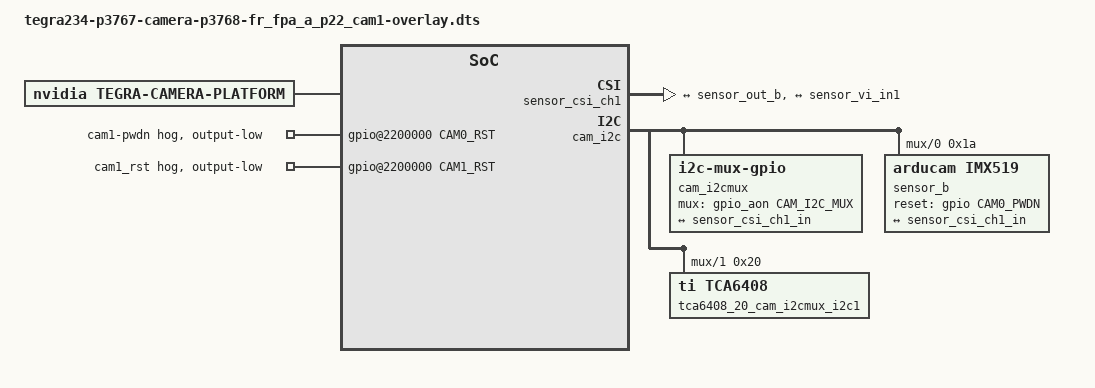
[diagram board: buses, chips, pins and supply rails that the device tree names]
// SPDX-License-Identifier: GPL-2.0
/*
 * Copyright (c) 2024 Framos. All rights reserved.
 *
 * tegra234-p3767-camera-p3768-fr_fpa_a_p22-overlay.dts - FPA-A/P22 device tree
 * Modified to enable Framos sensor on CAM1 only. CAM0 is available for an additionalrefractored sensor.
 */

/dts-v1/;
/plugin/;

#include <dt-bindings/clock/tegra234-clock.h>
#include <dt-bindings/gpio/tegra234-gpio.h>
#include <dt-bindings/tegra234-p3767-0000-common.h>


#define CAM_I2C_MUX	TEGRA234_AON_GPIO(CC, 3)
#define CAM0_RST	TEGRA234_MAIN_GPIO(H, 6)
#define CAM1_RST	TEGRA234_MAIN_GPIO(AC, 0)

/* TCA6408 Pxx bus-port define*/
#define PW_EN		0
#define CRESETB		1
#define XMASTER		3

/ {
	overlay-name = "Framos FPA-A/P22 (CAM0 enabled + IMX519)";
	jetson-header-name = "Jetson 24pin CSI Connector";
	compatible = JETSON_COMPATIBLE_P3768;

	fragment@0 {
		target-path = "/";
		__overlay__ {
			tegra-camera-platform {
				compatible = "nvidia, tegra-camera-platform";
				num_csi_lanes = <8>;
				max_lane_speed = <2500000>;
				min_bits_per_pixel = <10>;
				vi_peak_byte_per_pixel = <2>;
				vi_bw_margin_pct = <25>;
				max_pixel_rate = <7500000>;
				isp_peak_byte_per_pixel = <5>;
				isp_bw_margin_pct = <25>;
				modules {
					status = "okay";
					sensor_module0: module0 {
						status = "okay";
						position = "front";
						orientation = "1";
						drivernode0 {
							status = "okay";
							pcl_id = "v4l2_sensor";
							sysfs-device-tree = "/sys/firmware/devicetree/base/bus@0/cam_i2cmux/i2c@0/arducam_imx519_a@1a";
						};
					};
					sensor_module1: module1 {
						status = "disabled";
						position = "centerright";
						orientation = "1";
						drivernode0 {
							status = "disabled";
							/* Declare PCL support driver (classically known as guid) */
							pcl_id = "v4l2_sensor";
						};
					};
				};
			};
			tegra-capture-vi {
				num-channels=<2>;
				ports {
					#address-cells = <1>;
					#size-cells = <0>;
					status = "okay";
					sensor_vi_port1: port@1 {
						reg = <1>;
						status = "okay";
						sensor_vi_in1: okay {
							status = "disabled";
							port-index = <1>;
							bus-width = <2>;
							remote-endpoint = <&sensor_csi_ch1_out>;
						};
					};
					sensor_vi_port2: port@2 {
						reg = <2>;
						status = "disabled";
						sensor_vi_in2: endpoint {
							status = "disabled";
							vc-id = <0>;
							port-index = <2>;
							bus-width = <4>;
							remote-endpoint = <&sensor_csi_ch2_out>;
						};
					};
				};
			};
		};
	};

	fragment@1 {
		target-path = "/bus@0";
		__overlay__ {
			host1x@13e00000 {
				nvcsi@15a00000 {
					num-channels=<2>;
					#address-cells = <1>;
					#size-cells = <0>;
					sensor_csi_ch1: channel@1 {
						reg = <1>;
						status = "okay";
						ports {
							#address-cells = <1>;
							#size-cells = <0>;
							status = "okay";
							sensor_csi_ch1_port0: port@0 {
								reg = <0>;
								status = "okay";
								sensor_csi_ch1_in: endpoint@2 {
									status = "okay";
									port-index = <1>;
									bus-width = <2>;
									remote-endpoint = <&sensor_out_b>;
								};
							};
							sensor_csi_ch1_port1: port@1 {
								reg = <1>;
								status = "okay";
								sensor_csi_ch1_out: endpoint@3 {
									status = "okay";
									remote-endpoint = <&sensor_vi_in1>;
								};
							};
						};
					};
					sensor_csi_ch2: channel@2 {
						reg = <2>;
						status = "disabled";
						ports {
							#address-cells = <1>;
							#size-cells = <0>;
							status = "disabled";
							sensor_csi_ch2_port0: port@0 {
								reg = <0>;
								status = "disabled";
								sensor_csi_ch2_in: endpoint@4 {
									status = "disabled";
									port-index = <2>;
									bus-width = <4>;
								};
							};
							sensor_csi_ch2_port1: port@1 {
								reg = <1>;
								status = "disabled";
								sensor_csi_ch2_out: endpoint@5 {
									status = "disabled";
									remote-endpoint = <&sensor_vi_in2>;
								};
							};
						};
					};
				};

				vi0@15c00000 {
					dma-noncoherent;
				};

				vi0-thi@15f00000 {
					dma-noncoherent;
				};

				vi1@14c00000 {
					dma-noncoherent;
				};

				vi1-thi@14f00000 {
					dma-noncoherent;
				};
			};
			gpio@2200000 {
				camera-control-output-low {
					gpio-hog;
					output-low;
					gpios = <CAM0_RST 0>;
					label = "cam1-pwdn";
					status = "okay";
				};
				som_gpio_cam1_rst {
					gpio-hog;
					output-low;
					gpios = <CAM1_RST 0>;
					label = "cam1_rst";
					status = "okay";
				};
			};
			cam_i2cmux: cam_i2cmux {
				status = "okay";
				compatible = "i2c-mux-gpio";
				#address-cells = <1>;
				#size-cells = <0>;
				mux-gpios = <&gpio_aon CAM_I2C_MUX GPIO_ACTIVE_HIGH>;
				i2c-parent = <&cam_i2c>;
			};
		};
	};

	fragment@2 {
		target = <&cam_i2cmux>;
		__overlay__ {
			/* Channel connected to CAM0 */
			cam_i2cmux_i2c0: i2c@0 {
				status = "okay";
				reg = <0>;
				#address-cells = <1>;
				#size-cells = <0>;

				rbpcv2_imx219_a@10 {
					status = "disabled";
				};

				sensor_b: arducam_imx519_a@1a {
					reset-gpios = <&gpio CAM0_PWDN GPIO_ACTIVE_HIGH>;
					compatible = "arducam,imx519";
					/* I2C device address */
					reg = <0x1a>;
					/* V4L2 device node location */
					devnode = "video0";
					/* Physical dimensions of sensor */
					physical_w = "3.680";
					physical_h = "2.760";
					sensor_model = "imx519";
					use_sensor_mode_id = "false";

					mode0 { /* IMX519_MODE_4656x3496 */
						mclk_khz = "24000";
						num_lanes = "2";
						tegra_sinterface = "serial_b";
						phy_mode = "DPHY";
						discontinuous_clk = "no";
						dpcm_enable = "false";
						cil_settletime = "0";
						lane_polarity = "6";
						active_w = "4656";
						active_h = "3496";
						mode_type = "bayer";
						pixel_phase = "rggb";
						csi_pixel_bit_depth = "10";
						readout_orientation = "90";
						line_length = "12650";
						inherent_gain = "1";
						mclk_multiplier = "80";
						pix_clk_hz = "300000000";
						gain_factor = "16";
						framerate_factor = "1000000";
						exposure_factor = "1000000";
						min_gain_val = "16"; /* 1.00x */
						max_gain_val = "256"; /* 22x */
						step_gain_val = "1";
						default_gain = "16"; /* 1.00x */
						min_hdr_ratio = "1";
						max_hdr_ratio = "1";
						min_framerate = "2000000"; /* 2.0 fps */
						max_framerate = "9000000"; /* 9.0 fps */
						step_framerate = "1";
						default_framerate = "9000000"; /* 9.0 fps */
						min_exp_time = "13"; /* us */
						max_exp_time = "683709"; /* us */
						step_exp_time = "1";
						default_exp_time = "2495"; /* us */
						embedded_metadata_height = "2";
					};
					mode1 { /* IMX519_MODE_3840x2160 */
						mclk_khz = "24000";
						num_lanes = "2";
						tegra_sinterface = "serial_b";
						phy_mode = "DPHY";
						discontinuous_clk = "no";
						dpcm_enable = "false";
						cil_settletime = "0";
						lane_polarity = "6";
						active_w = "3840";
						active_h = "2160";
						mode_type = "bayer";
						pixel_phase = "rggb";
						csi_pixel_bit_depth = "10";
						readout_orientation = "90";
						line_length = "10486";
						inherent_gain = "1";
						mclk_multiplier = "80";
						pix_clk_hz = "300000000";
						gain_factor = "16";
						framerate_factor = "1000000";
						exposure_factor = "1000000";
						min_gain_val = "16"; /* 1.00x */
						max_gain_val = "256"; /* 22x */
						step_gain_val = "1";
						default_gain = "16"; /* 1.00x */
						min_hdr_ratio = "1";
						max_hdr_ratio = "1";
						min_framerate = "2000000"; /* 2.0 fps */
						max_framerate = "17000000"; /* 17.0 fps */
						step_framerate = "1";
						default_framerate = "17000000"; /* 17.0 fps */
						min_exp_time = "13"; /* us */
						max_exp_time = "683709"; /* us */
						step_exp_time = "1";
						default_exp_time = "2495"; /* us */
						embedded_metadata_height = "2";
					};
					mode2 { /* IMX519_MODE_1920X1080 */
						mclk_khz = "24000";
						num_lanes = "2";
						tegra_sinterface = "serial_b";
						phy_mode = "DPHY";
						discontinuous_clk = "no";
						dpcm_enable = "false";
						cil_settletime = "0";
						lane_polarity = "6";
						active_w = "1920";
						active_h = "1080";
						mode_type = "bayer";
						pixel_phase = "rggb";
						csi_pixel_bit_depth = "10";
						readout_orientation = "90";
						line_length = "6027";
						inherent_gain = "1";
						mclk_multiplier = "80";
						pix_clk_hz = "300000000";
						gain_factor = "16";
						framerate_factor = "1000000";
						exposure_factor = "1000000";
						min_gain_val = "16"; /* 1.00x */
						max_gain_val = "256"; /* 22x */
						step_gain_val = "1";
						default_gain = "16"; /* 1.00x */
						min_hdr_ratio = "1";
						max_hdr_ratio = "1";
						min_framerate = "2000000"; /* 2.0 fps */
						max_framerate = "60000000"; /* 60.0 fps */
						step_framerate = "1";
						default_framerate = "60000000"; /* 60.0 fps */
						min_exp_time = "13"; /* us */
						max_exp_time = "683709"; /* us */
						step_exp_time = "1";
						default_exp_time = "2495"; /* us */
						embedded_metadata_height = "2";
					};
					mode3 { /* IMX519_MODE_1280x720 */
						mclk_khz = "24000";
						num_lanes = "2";
						tegra_sinterface = "serial_b";
						phy_mode = "DPHY";
						discontinuous_clk = "no";
						dpcm_enable = "false";
						cil_settletime = "0";
						lane_polarity = "6";
						active_w = "1280";
						active_h = "720";
						mode_type = "bayer";
						pixel_phase = "rggb";
						csi_pixel_bit_depth = "10";
						readout_orientation = "90";
						line_length = "4336";
						inherent_gain = "1";
						mclk_multiplier = "80";
						pix_clk_hz = "300000000";
						gain_factor = "16";
						framerate_factor = "1000000";
						exposure_factor = "1000000";
						min_gain_val = "16"; /* 1.00x */
						max_gain_val = "256"; /* 22x */
						step_gain_val = "1";
						default_gain = "16"; /* 1.00x */
						min_hdr_ratio = "1";
						max_hdr_ratio = "1";
						min_framerate = "2000000"; /* 2.0 fps */
						max_framerate = "120000000"; /* 120.0 fps */
						step_framerate = "1";
						default_framerate = "120000000"; /* 120.0 fps */
						min_exp_time = "13"; /* us */
						max_exp_time = "683709"; /* us */
						step_exp_time = "1";
						default_exp_time = "2495"; /* us */
						embedded_metadata_height = "2";
					};
					ports {
						#address-cells = <1>;
						#size-cells = <0>;
						port@0 {
							reg = <0>;
							sensor_out_b: endpoint {
								vc-id = <0>;
								port-index = <1>;
								bus-width = <2>;
								remote-endpoint = <&sensor_csi_ch1_in>;
							};
						};
					};
				};
			};

			/* Channel connected to CAM1 */
			cam_i2cmux_i2c1: i2c@1 {
				status = "okay";
				reg = <1>;
				#address-cells = <1>;
				#size-cells = <0>;
				reset-gpios = <&gpio CAM1_RST GPIO_ACTIVE_HIGH>;
				xmaster-gpio = <&tca6408_20_cam_i2cmux_i2c1 XMASTER GPIO_ACTIVE_HIGH>;
				cresetb = <&tca6408_20_cam_i2cmux_i2c1 CRESETB GPIO_ACTIVE_HIGH>;
				pwdn-gpios = <&tca6408_20_cam_i2cmux_i2c1 PW_EN GPIO_ACTIVE_HIGH>;

				tca6408_20_cam_i2cmux_i2c1: tca6408@20 {
					compatible = "ti,tca6408";
					gpio-controller;
					#gpio-cells = <2>;
					reg = <0x20>;
					status = "okay";
					/* P0: PW_EN */
					tca6408_20_i2c1_pw_en {
						gpio-hog;
						output-high;
						gpios = <PW_EN 0>;
						label = "pw_en";
						status = "okay";
					};
					/* P1: CRESETB */
					tca6408_20_i2c1_cresetb {
						gpio-hog;
						output-high;
						gpios = <CRESETB 0>;
						label = "cresetb";
						status = "okay";
					};
					/* P3: XMASTER */
					tca6408_20_i2c1_xmaster {
						gpio-hog;
						output-low;
						gpios = <XMASTER 0>;
						label = "xmaster";
						status = "okay";
					};
				};
			};
		};
	};


};
